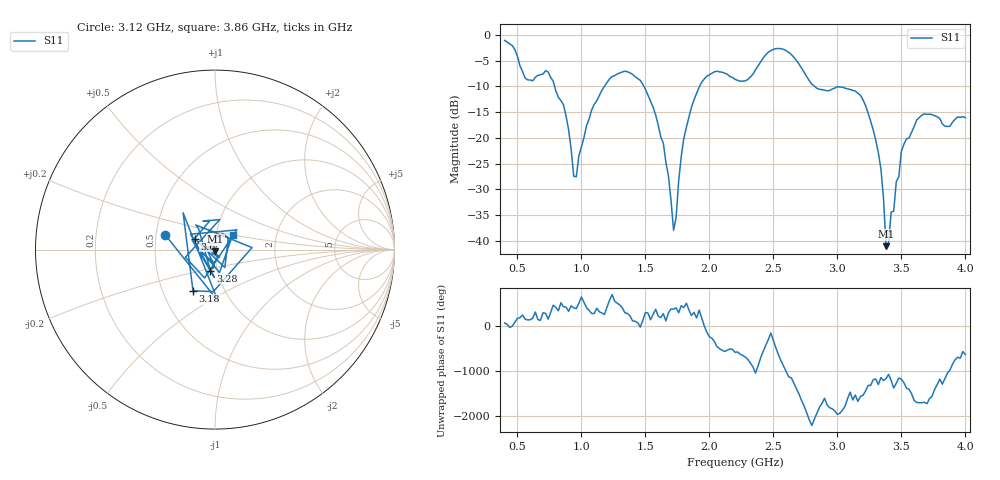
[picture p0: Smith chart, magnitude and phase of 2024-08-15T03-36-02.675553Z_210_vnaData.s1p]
!Created with skrf (http://scikit-rf.org).
# Hz S RI R 50.0
!freq ReS11 ImS11
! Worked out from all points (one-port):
!   181 points, 400 MHz to 4 GHz, reference 50 ohm
!   lowest |S11| = -41.0 dB at 3.38 GHz (marker M1), VSWR 1.02, Z = 50.2 - j0.876 ohm
!   |S11| at or under -10 dB: 790.9 MHz to 1.18 GHz (389 MHz wide, 39.5 % of centre); 1.489 GHz to 1.922 GHz (433.6 MHz wide, 25.4 % of centre); 2.823 GHz to end of sweep
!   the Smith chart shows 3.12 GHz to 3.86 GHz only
!   S11 on the Smith chart (normalised r, x): 3.12 GHz: 0.56, +0.10; 3.18 GHz: 0.71, -0.35; 3.28 GHz: 0.93, -0.22; 3.6 GHz: 0.79, +0.10; 3.86 GHz: 1.20, +0.20
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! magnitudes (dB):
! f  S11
! 400 MHz  -1.1
! 580 MHz  -8.7
! 740 MHz  -7.2
! 860 MHz  -13.6
! 960 MHz  -27.6
! 1.08 GHz  -14.6
! 1.3 GHz  -7.4
! 1.56 GHz  -14.0
! 1.64 GHz  -21.0
! 1.72 GHz  -37.9
! 1.76 GHz  -28.3
! 1.8 GHz  -20.1
! 1.94 GHz  -9.2
! 2.2 GHz  -8.6
! 2.5 GHz  -2.8
! 2.66 GHz  -4.3
! 2.84 GHz  -10.4
! 3.1 GHz  -10.6
! 3.12 GHz  -10.8
! 3.18 GHz  -11.7
! 3.28 GHz  -18.5
! 3.34 GHz  -26.0
! 3.38 GHz  -41.0
! 3.5 GHz  -22.6
! 3.56 GHz  -20.0
! 3.6 GHz  -17.8
! 3.86 GHz  -17.8
! 4 GHz  -16.1
